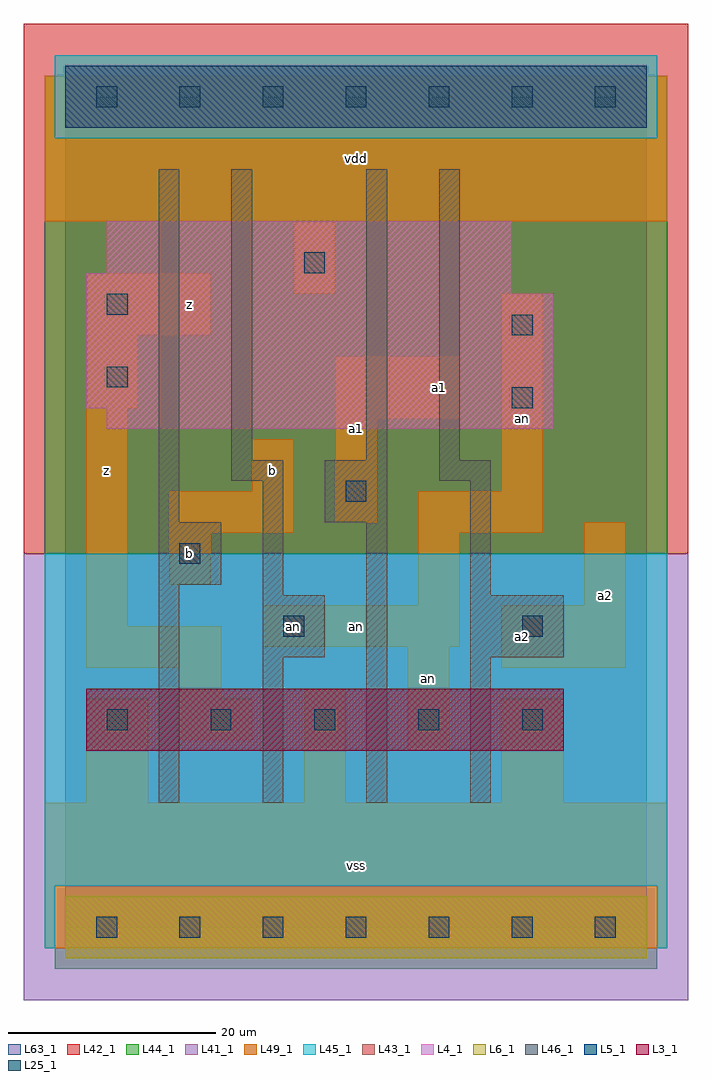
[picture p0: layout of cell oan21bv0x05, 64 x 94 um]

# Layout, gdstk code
import gdstk
lib = gdstk.Library(unit=1e-6, precision=1e-09)
def R(c, l, rs):  # rectangles x0, y0, x1, y1
    for r in rs: c.add(gdstk.rectangle(r[:2], r[2:], *l))
def A(c, l, x, y, w, h, nx, ny, dx, dy):  # array of equal rectangles
    R(c, l, [(x+i*dx, y+j*dy, x+i*dx+w, y+j*dy+h) for i in range(nx) for j in range(ny)])
L3_1 = (3, 1)
L4_1 = (4, 1)
L5_1 = (5, 1)
L6_1 = (6, 1)
L25_1 = (25, 1)
L41_1 = (41, 1)
L42_1 = (42, 1)
L43_1 = (43, 1)
L44_1 = (44, 1)
L45_1 = (45, 1)
L46_1 = (46, 1)
L49_1 = (49, 1)
L63_1 = (63, 1)

oan21bv0x05 = lib.new_cell('oan21bv0x05')
R(oan21bv0x05, L3_1, [(2,17,48,23)])
R(oan21bv0x05, L4_1, [(4,48,47,50), (2,50,47,61), (2,61,43,63), (4,63,43,68)])
R(oan21bv0x05, L5_1, [(0,77,56,83)])
R(oan21bv0x05, L6_1, [(0,-3,56,3), (0,-3,56,3)])
A(oan21bv0x05, L25_1, 3, -1, 2, 2, 7, 2, 8, 80)
A(oan21bv0x05, L25_1, 4, 19, 2, 2, 5, 1, 10, 0)
R(oan21bv0x05, L25_1, [(21,28,23,30), (44,28,46,30), (11,35,13,37), (27,41,29,43), (43,50,45,52), (4,52,6,54), (43,57,45,59), (4,59,6,61), (23,63,25,65)])
R(oan21bv0x05, L41_1, [(-4,-7,60,36)])
R(oan21bv0x05, L42_1, [(-4,36,60,87)])
R(oan21bv0x05, L43_1, [(0,-3,56,3), (2,17,48,23), (4,48,47,50), (2,50,47,61), (2,61,43,63), (4,63,43,68), (0,77,56,83)])
R(oan21bv0x05, L44_1, [(-1,-4,57,4), (-2,36,58,76), (-2,76,-1,82), (57,76,58,82)])
R(oan21bv0x05, L45_1, [(-2,-2,-1,4), (57,-2,58,4), (-2,4,58,36), (-1,76,57,84)])
R(oan21bv0x05, L46_1, [(9,12,11,33), (19,12,21,26), (29,12,31,39), (39,12,41,26), (19,26,25,32), (39,26,48,32), (19,32,21,43), (39,32,41,43), (9,33,15,39), (9,39,11,73), (25,39,31,45), (16,43,21,45), (36,43,41,45), (16,45,18,73), (29,45,31,73), (36,45,38,73)])
R(oan21bv0x05, L49_1, [(-2,-2,58,12), (2,12,8,22), (23,12,27,23), (42,12,48,22), (33,17,37,27), (11,18,18,22), (11,22,15,25), (2,25,15,29), (42,25,54,31), (19,27,38,31), (2,29,6,50), (34,31,38,38), (50,31,54,39), (10,33,14,38), (10,38,22,42), (34,38,46,42), (26,39,30,49), (18,42,22,47), (42,42,46,61), (26,49,38,55), (2,50,7,57), (2,57,14,63), (22,61,26,68), (-2,68,58,82)])
R(oan21bv0x05, L63_1, [(0,0,56,80)])
oan21bv0x05.add(gdstk.Label('an', (22,29), layer=49, texttype=1))
oan21bv0x05.add(gdstk.Label('z', (4,44), layer=49, texttype=1))
oan21bv0x05.add(gdstk.Label('b', (12,36), layer=49, texttype=1))
oan21bv0x05.add(gdstk.Label('b', (20,44), layer=49, texttype=1))
oan21bv0x05.add(gdstk.Label('z', (12,60), layer=49, texttype=1))
oan21bv0x05.add(gdstk.Label('vss', (28,6), layer=49, texttype=1))
oan21bv0x05.add(gdstk.Label('an', (35,24), layer=49, texttype=1))
oan21bv0x05.add(gdstk.Label('an', (28,29), layer=49, texttype=1))
oan21bv0x05.add(gdstk.Label('a1', (28,48), layer=49, texttype=1))
oan21bv0x05.add(gdstk.Label('a1', (36,52), layer=49, texttype=1))
oan21bv0x05.add(gdstk.Label('vdd', (28,74), layer=49, texttype=1))
oan21bv0x05.add(gdstk.Label('a2', (44,28), layer=49, texttype=1))
oan21bv0x05.add(gdstk.Label('a2', (52,32), layer=49, texttype=1))
oan21bv0x05.add(gdstk.Label('an', (44,49), layer=49, texttype=1))

lib.write_gds('oan21bv0x05.gds')
